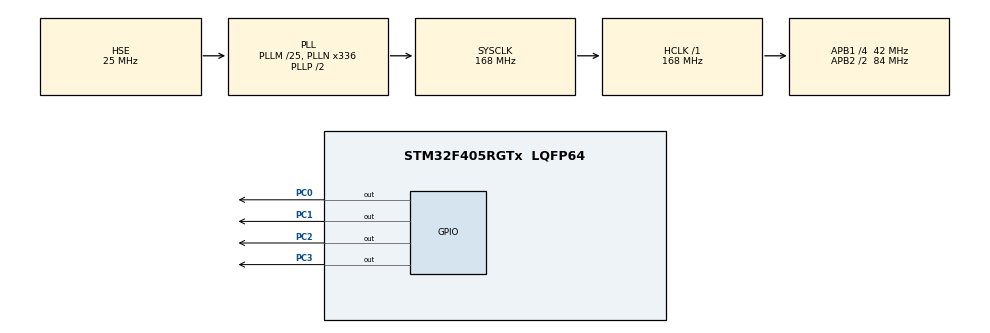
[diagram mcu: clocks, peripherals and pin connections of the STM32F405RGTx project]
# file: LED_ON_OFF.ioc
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Mcu.Family=STM32F4
Mcu.Name=STM32F405RGTx
Mcu.Package=LQFP64
NVIC.PriorityGroup=NVIC_PRIORITYGROUP_4
PC0.Signal=GPIO_Output
PC1.Signal=GPIO_Output
PC2.Signal=GPIO_Output
PC3.Signal=GPIO_Output
PH0-OSC_IN.Mode=HSE-External-Oscillator
PH0-OSC_IN.Signal=RCC_OSC_IN
PH1-OSC_OUT.Mode=HSE-External-Oscillator
PH1-OSC_OUT.Signal=RCC_OSC_OUT
ProjectManager.HeapSize=0x200
ProjectManager.StackSize=0x400
ProjectManager.TargetToolchain=EWARM V8.32
RCC.48MHZClocksFreq_Value=84000000
RCC.AHBFreq_Value=168000000
RCC.APB1CLKDivider=RCC_HCLK_DIV4
RCC.APB1Freq_Value=42000000
RCC.APB1TimFreq_Value=84000000
RCC.APB2CLKDivider=RCC_HCLK_DIV2
RCC.APB2Freq_Value=84000000
RCC.APB2TimFreq_Value=168000000
RCC.CortexFreq_Value=168000000
RCC.HCLKFreq_Value=168000000
RCC.HSE_VALUE=25000000
RCC.HSI_VALUE=16000000
RCC.LSE_VALUE=32768
RCC.PLLM=25
RCC.PLLN=336
RCC.PLLSourceVirtual=RCC_PLLSOURCE_HSE
RCC.SYSCLKFreq_VALUE=168000000
RCC.SYSCLKSource=RCC_SYSCLKSOURCE_PLLCLK
RCC.VCOOutputFreq_Value=336000000
board=custom

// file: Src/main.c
/* USER CODE BEGIN Header */
/**
  ******************************************************************************
  * @file           : main.c
  * @brief          : Main program body
  ******************************************************************************
  * @attention
  *
  * <h2><center>&copy; Copyright (c) 2020 STMicroelectronics.
  * All rights reserved.</center></h2>
  *
  * This software component is licensed by ST under BSD 3-Clause license,
  * the "License"; You may not use this file except in compliance with the
  * License. You may obtain a copy of the License at:
  *                        opensource.org/licenses/BSD-3-Clause
  *
  ******************************************************************************
  */
/* USER CODE END Header */

#include "main.h"
#include "gpio.h"

void SystemClock_Config(void);

int main(void)
{

  /* MCU Configuration--------------------------------------------------------*/

  /* Reset of all peripherals, Initializes the Flash interface and the Systick. */
  HAL_Init();

  /* Configure the system clock */
  SystemClock_Config();

  /* Initialize all configured peripherals */
  MX_GPIO_Init();

  /* Infinite loop */
  /* USER CODE BEGIN WHILE */

  unsigned char cnt = GPIO_PIN_0;
  while (1)
  {
    while(1)
    {
        HAL_GPIO_ReadPin(GPIOB,
        HAL_GPIO_WritePin(GPIOC,cnt,GPIO_PIN_SET);
        HAL_Delay(100);
        HAL_GPIO_WritePin(GPIOC,cnt,GPIO_PIN_RESET);
        cnt<<=1;
        if(cnt==0x0010)
        {
          cnt=0x0004;
          break;
        }
     }
    while(1)
    {
        HAL_GPIO_WritePin(GPIOC,cnt,GPIO_PIN_SET);
        HAL_Delay(100);
        HAL_GPIO_WritePin(GPIOC,cnt,GPIO_PIN_RESET);
        cnt>>=1;
        if(cnt==0x0000)
        {
          cnt=0x0002;
          break;
        }
    }
    /*
    HAL_GPIO_WritePin(GPIOC,GPIO_PIN_0 | GPIO_PIN_1 | GPIO_PIN_2 | GPIO_PIN_3 ,GPIO_PIN_SET);
    HAL_Delay(500);
    HAL_GPIO_WritePin(GPIOC,GPIO_PIN_0 | GPIO_PIN_1 | GPIO_PIN_2 | GPIO_PIN_3 ,GPIO_PIN_RESET);
    HAL_Delay(500);
    */

    /* USER CODE END WHILE */

  }
}

void SystemClock_Config(void)
{
  RCC_OscInitTypeDef RCC_OscInitStruct = {0};
  RCC_ClkInitTypeDef RCC_ClkInitStruct = {0};

  /** Configure the main internal regulator output voltage
  */
  __HAL_RCC_PWR_CLK_ENABLE();
  __HAL_PWR_VOLTAGESCALING_CONFIG(PWR_REGULATOR_VOLTAGE_SCALE1);
  /** Initializes the CPU, AHB and APB busses clocks
  */
  RCC_OscInitStruct.OscillatorType = RCC_OSCILLATORTYPE_HSE;
  RCC_OscInitStruct.HSEState = RCC_HSE_ON;
  RCC_OscInitStruct.PLL.PLLState = RCC_PLL_ON;
  RCC_OscInitStruct.PLL.PLLSource = RCC_PLLSOURCE_HSE;
  RCC_OscInitStruct.PLL.PLLM = 25;
  RCC_OscInitStruct.PLL.PLLN = 336;
  RCC_OscInitStruct.PLL.PLLP = RCC_PLLP_DIV2;
  RCC_OscInitStruct.PLL.PLLQ = 4;
  if (HAL_RCC_OscConfig(&RCC_OscInitStruct) != HAL_OK)
  {
    Error_Handler();
  }
  /** Initializes the CPU, AHB and APB busses clocks
  */
  RCC_ClkInitStruct.ClockType = RCC_CLOCKTYPE_HCLK|RCC_CLOCKTYPE_SYSCLK
                              |RCC_CLOCKTYPE_PCLK1|RCC_CLOCKTYPE_PCLK2;
  RCC_ClkInitStruct.SYSCLKSource = RCC_SYSCLKSOURCE_PLLCLK;
  RCC_ClkInitStruct.AHBCLKDivider = RCC_SYSCLK_DIV1;
  RCC_ClkInitStruct.APB1CLKDivider = RCC_HCLK_DIV4;
  RCC_ClkInitStruct.APB2CLKDivider = RCC_HCLK_DIV2;

  if (HAL_RCC_ClockConfig(&RCC_ClkInitStruct, FLASH_LATENCY_5) != HAL_OK)
  {
    Error_Handler();
  }
}

void Error_Handler(void)
{
}

/************************ (C) COPYRIGHT STMicroelectronics *****END OF FILE****/
